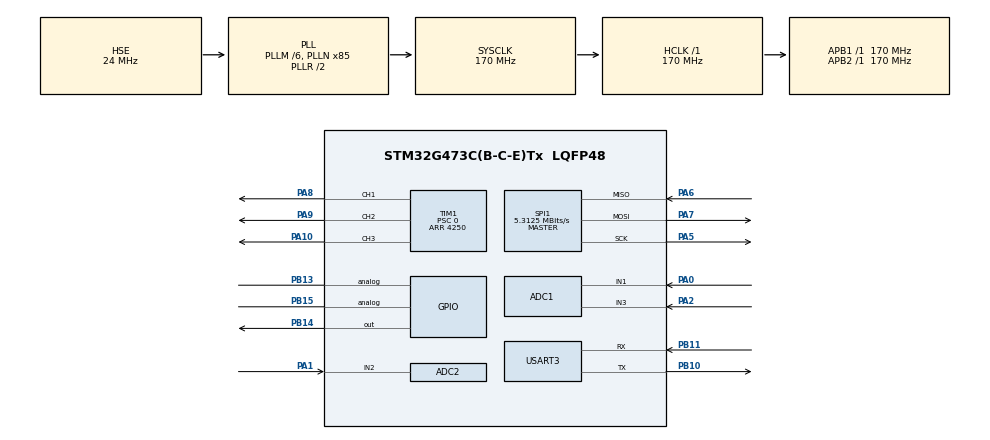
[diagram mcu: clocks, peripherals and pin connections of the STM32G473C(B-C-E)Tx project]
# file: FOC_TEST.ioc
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ADC1.Channel-0\#ChannelRegularConversion=ADC_CHANNEL_3
ADC1.ContinuousConvMode=DISABLE
ADC1.DMAContinuousRequests=DISABLE
ADC1.DiscontinuousConvMode=DISABLE
ADC1.ExternalTrigConv=ADC_EXTERNALTRIG_T1_TRGO
ADC1.Mode=ADC_MODE_INDEPENDENT
ADC1.NbrOfConversion=1
ADC1.NbrOfConversionFlag=1
ADC1.OffsetNumber-0\#ChannelRegularConversion=ADC_OFFSET_NONE
ADC1.Rank-0\#ChannelRegularConversion=1
ADC1.SamplingTime-0\#ChannelRegularConversion=ADC_SAMPLETIME_6CYCLES_5
ADC1.master=1
ADC2.Channel-0\#ChannelRegularConversion=ADC_CHANNEL_2
ADC2.ExternalTrigConv=ADC_EXTERNALTRIG_T1_TRGO
ADC2.NbrOfConversionFlag=1
ADC2.OffsetNumber-0\#ChannelRegularConversion=ADC_OFFSET_NONE
ADC2.Rank-0\#ChannelRegularConversion=1
ADC2.SamplingTime-0\#ChannelRegularConversion=ADC_SAMPLETIME_6CYCLES_5
Dma.Request0=USART3_RX
Dma.USART3_RX.0.Direction=DMA_PERIPH_TO_MEMORY
Dma.USART3_RX.0.EventEnable=DISABLE
Dma.USART3_RX.0.Instance=DMA1_Channel1
Dma.USART3_RX.0.MemDataAlignment=DMA_MDATAALIGN_BYTE
Dma.USART3_RX.0.MemInc=DMA_MINC_ENABLE
Dma.USART3_RX.0.Mode=DMA_CIRCULAR
Dma.USART3_RX.0.PeriphDataAlignment=DMA_PDATAALIGN_BYTE
Dma.USART3_RX.0.PeriphInc=DMA_PINC_DISABLE
Dma.USART3_RX.0.Polarity=HAL_DMAMUX_REQ_GEN_RISING
Dma.USART3_RX.0.Priority=DMA_PRIORITY_MEDIUM
Dma.USART3_RX.0.RequestNumber=1
Dma.USART3_RX.0.SignalID=NONE
Dma.USART3_RX.0.SyncEnable=DISABLE
Dma.USART3_RX.0.SyncPolarity=HAL_DMAMUX_SYNC_NO_EVENT
Dma.USART3_RX.0.SyncRequestNumber=1
Dma.USART3_RX.0.SyncSignalID=NONE
Mcu.Family=STM32G4
Mcu.Name=STM32G473C(B-C-E)Tx
Mcu.Package=LQFP48
NVIC.ADC1_2_IRQn=true\:2\:0\:true\:false\:true\:true\:true
NVIC.DMA1_Channel1_IRQn=true\:0\:0\:false\:false\:true\:false\:true
NVIC.PriorityGroup=NVIC_PRIORITYGROUP_4
NVIC.TIM2_IRQn=true\:3\:0\:true\:false\:true\:true\:true
NVIC.USART3_IRQn=true\:2\:0\:true\:false\:true\:true\:true
PA0.Signal=SharedAnalog_PA0
PA1.Signal=SharedAnalog_PA1
PA10.Signal=S_TIM1_CH3
PA13.Mode=Serial_Wire
PA13.Signal=SYS_JTMS-SWDIO
PA14.Mode=Serial_Wire
PA14.Signal=SYS_JTCK-SWCLK
PA2.Mode=IN3-Single-Ended
PA2.Signal=ADC1_IN3
PA5.Mode=Full_Duplex_Master
PA5.Signal=SPI1_SCK
PA6.Mode=Full_Duplex_Master
PA6.Signal=SPI1_MISO
PA7.Mode=Full_Duplex_Master
PA7.Signal=SPI1_MOSI
PA8.Signal=S_TIM1_CH1
PA9.Signal=S_TIM1_CH2
PB10.Mode=Asynchronous
PB10.Signal=USART3_TX
PB11.Mode=Asynchronous
PB11.Signal=USART3_RX
PB13.Signal=GPIO_Analog
PB14.GPIO_Speed=GPIO_SPEED_FREQ_HIGH
PB14.PinState=GPIO_PIN_SET
PB14.Signal=GPIO_Output
PB15.Signal=GPIO_Analog
PF0-OSC_IN.Mode=HSE-External-Oscillator
PF0-OSC_IN.Signal=RCC_OSC_IN
PF1-OSC_OUT.Mode=HSE-External-Oscillator
PF1-OSC_OUT.Signal=RCC_OSC_OUT
ProjectManager.HeapSize=0x200
ProjectManager.StackSize=0x400
ProjectManager.TargetToolchain=MDK-ARM V5.27
RCC.ADC12Freq_Value=170000000
RCC.ADC345Freq_Value=170000000
RCC.AHBFreq_Value=170000000
RCC.APB1Freq_Value=170000000
RCC.APB1TimFreq_Value=170000000
RCC.APB2Freq_Value=170000000
RCC.APB2TimFreq_Value=170000000
RCC.CortexFreq_Value=170000000
RCC.EXTERNAL_CLOCK_VALUE=12288000
RCC.HCLKFreq_Value=170000000
RCC.HSE_VALUE=24000000
RCC.HSI48_VALUE=48000000
RCC.HSI_VALUE=16000000
RCC.LSE_VALUE=32768
RCC.PLLM=RCC_PLLM_DIV6
RCC.PLLN=85
RCC.PLLSourceVirtual=RCC_PLLSOURCE_HSE
RCC.SYSCLKFreq_VALUE=170000000
RCC.SYSCLKSource=RCC_SYSCLKSOURCE_PLLCLK
RCC.USBFreq_Value=170000000
RCC.VCOOutputFreq_Value=340000000
SH.S_TIM1_CH1.0=TIM1_CH1,PWM Generation1 CH1
SH.S_TIM1_CH2.0=TIM1_CH2,PWM Generation2 CH2
SH.S_TIM1_CH3.0=TIM1_CH3,PWM Generation3 CH3
SH.SharedAnalog_PA0.0=ADC1_IN1,IN1-Single-Ended
SH.SharedAnalog_PA0.1=ADC2_IN1,IN1-Single-Ended
SH.SharedAnalog_PA1.0=ADC2_IN2,IN2-Single-Ended
SH.SharedAnalog_PA1.1=ADC1_IN2,IN2-Single-Ended
SPI1.BaudRatePrescaler=SPI_BAUDRATEPRESCALER_32
SPI1.CLKPhase=SPI_PHASE_2EDGE
SPI1.CLKPolarity=SPI_POLARITY_LOW
SPI1.CalculateBaudRate=5.3125 MBits/s
SPI1.DataSize=SPI_DATASIZE_16BIT
SPI1.Direction=SPI_DIRECTION_2LINES
SPI1.Mode=SPI_MODE_MASTER
SPI1.VirtualType=VM_MASTER
TIM1.Channel-PWM\ Generation1\ CH1=TIM_CHANNEL_1
TIM1.Channel-PWM\ Generation2\ CH2=TIM_CHANNEL_2
TIM1.Channel-PWM\ Generation3\ CH3=TIM_CHANNEL_3
TIM1.CounterMode=TIM_COUNTERMODE_CENTERALIGNED1
TIM1.PeriodNoDither=4250
TIM1.Prescaler=0
TIM1.RepetitionCounter=0
TIM1.TIM_MasterOutputTrigger=TIM_TRGO_UPDATE
TIM2.PeriodNoDither=4240
TIM2.Prescaler=0
TIM2.TIM_MasterOutputTrigger=TIM_TRGO_UPDATE
USART3.VirtualMode-Asynchronous=VM_ASYNC
VP_SYS_VS_DBSignals.Mode=DisableDeadBatterySignals
VP_SYS_V_VREFBUF.Mode=ExternalMode
VP_TIM1_VS_ClockSourceINT.Mode=Internal
VP_TIM2_VS_ClockSourceINT.Mode=Internal
board=custom

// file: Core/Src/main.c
/* USER CODE BEGIN Header */
/**
  ******************************************************************************
  * @file           : main.c
  * @brief          : Main program body
  ******************************************************************************
  * @attention
  *
  * <h2><center>&copy; Copyright (c) 2025 STMicroelectronics.
  * All rights reserved.</center></h2>
  *
  * This software component is licensed by ST under BSD 3-Clause license,
  * the "License"; You may not use this file except in compliance with the
  * License. You may obtain a copy of the License at:
  *                        opensource.org/licenses/BSD-3-Clause
  *
  ******************************************************************************
  */
/* USER CODE END Header */
#include "main.h"
#include "adc.h"
#include "dma.h"
#include "spi.h"
#include "tim.h"
#include "usart.h"
#include "gpio.h"

/* USER CODE BEGIN Includes */
#include "stdio.h"
#include "Controller.h"
#include "FOC.h"
#include "FSM.h"
#include "PWM.h"
#include "User_config.h"
#include "Anticogging.h"
#include "Encoder.h"
#include "string.h"
/* USER CODE END Includes */

void SystemClock_Config(void);

int main(void)
{

  /* MCU Configuration--------------------------------------------------------*/

  /* Reset of all peripherals, Initializes the Flash interface and the Systick. */
  HAL_Init();

  /* Configure the system clock */
  SystemClock_Config();

  /* Initialize all configured peripherals */
  MX_GPIO_Init();
  MX_DMA_Init();
  MX_ADC1_Init();
  MX_SPI1_Init();
  MX_TIM1_Init();
  MX_TIM2_Init();
  MX_ADC2_Init();
  MX_USART3_UART_Init();
  /* USER CODE BEGIN 2 */
  HAL_TIM_Base_Start(&htim1);
    if (USR_read_config()) {
        USR_set_default_config();
    }

    if (0 == USR_read_cogging_map()) {
        AnticoggingValid = true;
    } else {
        USR_set_default_cogging_map();
    }

    MCT_init();
    FOC_init();
    PWMC_init();
    ENCODER_init();
    CONTROLLER_init();
    if (PWMC_CurrentReadingPolarization() != 0) {
        StatuswordNew.errors.selftest = 1;
    }
    MCT_set_state(IDLE);
  /* USER CODE END 2 */

  /* Infinite loop */
  while (1)
  {

  }
}

void SystemClock_Config(void)
{
  RCC_OscInitTypeDef RCC_OscInitStruct = {0};
  RCC_ClkInitTypeDef RCC_ClkInitStruct = {0};
  RCC_PeriphCLKInitTypeDef PeriphClkInit = {0};

  /** Configure the main internal regulator output voltage
  */
  HAL_PWREx_ControlVoltageScaling(PWR_REGULATOR_VOLTAGE_SCALE1_BOOST);
  /** Initializes the RCC Oscillators according to the specified parameters
  * in the RCC_OscInitTypeDef structure.
  */
  RCC_OscInitStruct.OscillatorType = RCC_OSCILLATORTYPE_HSE;
  RCC_OscInitStruct.HSEState = RCC_HSE_ON;
  RCC_OscInitStruct.PLL.PLLState = RCC_PLL_ON;
  RCC_OscInitStruct.PLL.PLLSource = RCC_PLLSOURCE_HSE;
  RCC_OscInitStruct.PLL.PLLM = RCC_PLLM_DIV6;
  RCC_OscInitStruct.PLL.PLLN = 85;
  RCC_OscInitStruct.PLL.PLLP = RCC_PLLP_DIV2;
  RCC_OscInitStruct.PLL.PLLQ = RCC_PLLQ_DIV2;
  RCC_OscInitStruct.PLL.PLLR = RCC_PLLR_DIV2;
  if (HAL_RCC_OscConfig(&RCC_OscInitStruct) != HAL_OK)
  {
    Error_Handler();
  }
  /** Initializes the CPU, AHB and APB buses clocks
  */
  RCC_ClkInitStruct.ClockType = RCC_CLOCKTYPE_HCLK|RCC_CLOCKTYPE_SYSCLK
                              |RCC_CLOCKTYPE_PCLK1|RCC_CLOCKTYPE_PCLK2;
  RCC_ClkInitStruct.SYSCLKSource = RCC_SYSCLKSOURCE_PLLCLK;
  RCC_ClkInitStruct.AHBCLKDivider = RCC_SYSCLK_DIV1;
  RCC_ClkInitStruct.APB1CLKDivider = RCC_HCLK_DIV1;
  RCC_ClkInitStruct.APB2CLKDivider = RCC_HCLK_DIV1;

  if (HAL_RCC_ClockConfig(&RCC_ClkInitStruct, FLASH_LATENCY_4) != HAL_OK)
  {
    Error_Handler();
  }
  /** Initializes the peripherals clocks
  */
  PeriphClkInit.PeriphClockSelection = RCC_PERIPHCLK_USART3|RCC_PERIPHCLK_ADC12;
  PeriphClkInit.Usart3ClockSelection = RCC_USART3CLKSOURCE_PCLK1;
  PeriphClkInit.Adc12ClockSelection = RCC_ADC12CLKSOURCE_SYSCLK;
  if (HAL_RCCEx_PeriphCLKConfig(&PeriphClkInit) != HAL_OK)
  {
    Error_Handler();
  }
}

void Error_Handler(void)
{
  __disable_irq();
  while (1)
  {
  }
}

/************************ (C) COPYRIGHT STMicroelectronics *****END OF FILE****/
